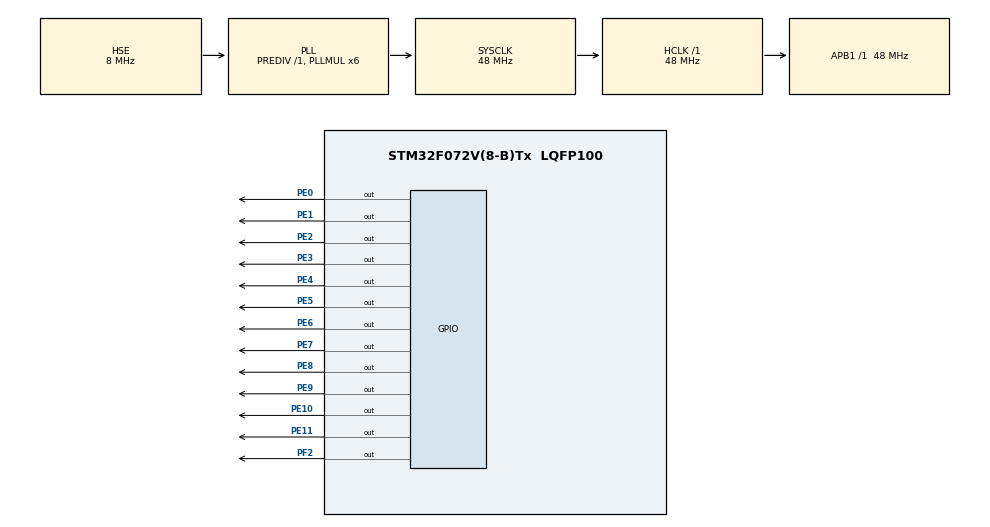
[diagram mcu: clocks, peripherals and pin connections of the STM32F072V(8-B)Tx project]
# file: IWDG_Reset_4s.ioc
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IWDG.Reload=4000
Mcu.Family=STM32F0
Mcu.Name=STM32F072V(8-B)Tx
Mcu.Package=LQFP100
PE0.Signal=GPIO_Output
PE1.Signal=GPIO_Output
PE10.Signal=GPIO_Output
PE11.Signal=GPIO_Output
PE2.Signal=GPIO_Output
PE3.Signal=GPIO_Output
PE4.Signal=GPIO_Output
PE5.Signal=GPIO_Output
PE6.Signal=GPIO_Output
PE7.Signal=GPIO_Output
PE8.Signal=GPIO_Output
PE9.Signal=GPIO_Output
PF0-OSC_IN.Mode=HSE-External-Oscillator
PF0-OSC_IN.Signal=RCC_OSC_IN
PF1-OSC_OUT.Mode=HSE-External-Oscillator
PF1-OSC_OUT.Signal=RCC_OSC_OUT
PF2.Signal=GPIO_Output
ProjectManager.HeapSize=0x200
ProjectManager.StackSize=0x400
ProjectManager.TargetToolchain=MDK-ARM V5
RCC.AHBFreq_Value=48000000
RCC.APB1Freq_Value=48000000
RCC.APB1TimFreq_Value=48000000
RCC.HCLKFreq_Value=48000000
RCC.HSIState=RCC_HSI_ON
RCC.PLLMUL=RCC_PLL_MUL6
RCC.PLLSourceVirtual=RCC_PLLSOURCE_HSE
RCC.SYSCLKFreq_VALUE=48000000
RCC.SYSCLKSource=RCC_SYSCLKSOURCE_PLLCLK
VP_IWDG_VS_IWDG.Mode=IWDG_Activate
board=IWDG_Reset_4s

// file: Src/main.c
/**
  ******************************************************************************
  * File Name          : main.c
  * Description        : Main program body

	* IWDG复位测试：4分频、计数周期100us、重装值4000、4秒钟后停止喂狗微控制器复位
  ******************************************************************************
  *
  * COPYRIGHT(c) 2017 STMicroelectronics
  *
  * Redistribution and use in source and binary forms, with or without modification,
  * are permitted provided that the following conditions are met:
  *   1. Redistributions of source code must retain the above copyright notice,
  *      this list of conditions and the following disclaimer.
  *   2. Redistributions in binary form must reproduce the above copyright notice,
  *      this list of conditions and the following disclaimer in the documentation
  *      and/or other materials provided with the distribution.
  *   3. Neither the name of STMicroelectronics nor the names of its contributors
  *      may be used to endorse or promote products derived from this software
  *      without specific prior written permission.
  *
  * THIS SOFTWARE IS PROVIDED BY THE COPYRIGHT HOLDERS AND CONTRIBUTORS "AS IS"
  * AND ANY EXPRESS OR IMPLIED WARRANTIES, INCLUDING, BUT NOT LIMITED TO, THE
  * IMPLIED WARRANTIES OF MERCHANTABILITY AND FITNESS FOR A PARTICULAR PURPOSE ARE
  * DISCLAIMED. IN NO EVENT SHALL THE COPYRIGHT HOLDER OR CONTRIBUTORS BE LIABLE
  * FOR ANY DIRECT, INDIRECT, INCIDENTAL, SPECIAL, EXEMPLARY, OR CONSEQUENTIAL
  * DAMAGES (INCLUDING, BUT NOT LIMITED TO, PROCUREMENT OF SUBSTITUTE GOODS OR
  * SERVICES; LOSS OF USE, DATA, OR PROFITS; OR BUSINESS INTERRUPTION) HOWEVER
  * CAUSED AND ON ANY THEORY OF LIABILITY, WHETHER IN CONTRACT, STRICT LIABILITY,
  * OR TORT (INCLUDING NEGLIGENCE OR OTHERWISE) ARISING IN ANY WAY OUT OF THE USE
  * OF THIS SOFTWARE, EVEN IF ADVISED OF THE POSSIBILITY OF SUCH DAMAGE.
  *
  ******************************************************************************
  */
#include "stm32f0xx_hal.h"

IWDG_HandleTypeDef hiwdg;

/* USER CODE BEGIN PV */
/* Private variables ---------------------------------------------------------*/

/* USER CODE END PV */

void SystemClock_Config(void);
void Error_Handler(void);
static void MX_GPIO_Init(void);
static void MX_IWDG_Init(void);

/* USER CODE BEGIN PFP */
/* Private function prototypes -----------------------------------------------*/
void SEG_Display(uint32_t num);     /*  数码管显示函数  */

/* USER CODE END PFP */

/* USER CODE BEGIN 0 */
const uint8_t table0[]= {0x3f,0x06,0x5b,0x4f,0x66,0x6d,0x7d,0x07,0x7f,0x6f};  /* 共阴（无点）*/
const uint8_t table1[]= {0xbf,0x86,0xdb,0xcf,0xe6,0xed,0xfd,0x87,0xff,0xef};  /* 共阴（有点）*/

uint32_t  display;   /* 定义显示变量 */
uint32_t  status;    /* 定义状态变量 */
uint8_t   ms16;      /* 定义16毫秒变量 */

/* USER CODE END 0 */

int main(void)
{

  /* MCU Configuration----------------------------------------------------------*/

  /* Reset of all peripherals, Initializes the Flash interface and the Systick. */
  HAL_Init();

  /* Configure the system clock */
  SystemClock_Config();

  /* Initialize all configured peripherals */
  MX_GPIO_Init();
  MX_IWDG_Init();

  /* USER CODE BEGIN 2 */

	/* 启动IWDG计数器 */
	status = HAL_IWDG_Start (&hiwdg);

  /* USER CODE END 2 */

  /* Infinite loop */
  /* USER CODE BEGIN WHILE */
  while (1)
  {
		/*  数码管显示，刷新周期为16毫秒  */
		SEG_Display(display);
		/*  每16ms自加1  */
		display++;
		/*  启动后4秒钟内每隔0.4秒喂狗一次，4秒钟后不再喂狗 */
		if(display<=250)
		{
			/* 16毫秒变量自加1 */
			ms16++;
			/* 在0.4秒钟之内 */
			if(ms16>=24)
			{
				/* 复位16毫秒变量 */
				ms16=0;
				/* 复位IWDG计数器 */
				status = HAL_IWDG_Refresh (&hiwdg);
			}
		}

  /* USER CODE END WHILE */

  }

}

/** System Clock Configuration
*/
void SystemClock_Config(void)
{

  RCC_OscInitTypeDef RCC_OscInitStruct;
  RCC_ClkInitTypeDef RCC_ClkInitStruct;

  RCC_OscInitStruct.OscillatorType = RCC_OSCILLATORTYPE_LSI|RCC_OSCILLATORTYPE_HSE;
  RCC_OscInitStruct.HSEState = RCC_HSE_ON;
  RCC_OscInitStruct.LSIState = RCC_LSI_ON;
  RCC_OscInitStruct.PLL.PLLState = RCC_PLL_ON;
  RCC_OscInitStruct.PLL.PLLSource = RCC_PLLSOURCE_HSE;
  RCC_OscInitStruct.PLL.PLLMUL = RCC_PLL_MUL6;
  RCC_OscInitStruct.PLL.PREDIV = RCC_PREDIV_DIV1;
  if (HAL_RCC_OscConfig(&RCC_OscInitStruct) != HAL_OK)
  {
    Error_Handler();
  }

  RCC_ClkInitStruct.ClockType = RCC_CLOCKTYPE_HCLK|RCC_CLOCKTYPE_SYSCLK
                              |RCC_CLOCKTYPE_PCLK1;
  RCC_ClkInitStruct.SYSCLKSource = RCC_SYSCLKSOURCE_PLLCLK;
  RCC_ClkInitStruct.AHBCLKDivider = RCC_SYSCLK_DIV1;
  RCC_ClkInitStruct.APB1CLKDivider = RCC_HCLK_DIV1;
  if (HAL_RCC_ClockConfig(&RCC_ClkInitStruct, FLASH_LATENCY_1) != HAL_OK)
  {
    Error_Handler();
  }

  HAL_SYSTICK_Config(HAL_RCC_GetHCLKFreq()/1000);

  HAL_SYSTICK_CLKSourceConfig(SYSTICK_CLKSOURCE_HCLK);

  /* SysTick_IRQn interrupt configuration */
  HAL_NVIC_SetPriority(SysTick_IRQn, 0, 0);
}

/* IWDG init function */
static void MX_IWDG_Init(void)
{

  hiwdg.Instance = IWDG;
  hiwdg.Init.Prescaler = IWDG_PRESCALER_4;
  hiwdg.Init.Window = 4095;
  hiwdg.Init.Reload = 4000;
  if (HAL_IWDG_Init(&hiwdg) != HAL_OK)
  {
    Error_Handler();
  }

}

/** Configure pins as
        * Analog
        * Input
        * Output
        * EVENT_OUT
        * EXTI
*/
static void MX_GPIO_Init(void)
{

  GPIO_InitTypeDef GPIO_InitStruct;

  /* GPIO Ports Clock Enable */
  __HAL_RCC_GPIOE_CLK_ENABLE();
  __HAL_RCC_GPIOF_CLK_ENABLE();

  /*Configure GPIO pin Output Level */
  HAL_GPIO_WritePin(GPIOE, GPIO_PIN_2|GPIO_PIN_3|GPIO_PIN_4|GPIO_PIN_5
                          |GPIO_PIN_6|GPIO_PIN_7|GPIO_PIN_8|GPIO_PIN_9
                          |GPIO_PIN_10|GPIO_PIN_11|GPIO_PIN_0|GPIO_PIN_1, GPIO_PIN_RESET);

  /*Configure GPIO pin Output Level */
  HAL_GPIO_WritePin(GPIOF, GPIO_PIN_2, GPIO_PIN_RESET);

  /*Configure GPIO pins : PE2 PE3 PE4 PE5
                           PE6 PE7 PE8 PE9
                           PE10 PE11 PE0 PE1 */
  GPIO_InitStruct.Pin = GPIO_PIN_2|GPIO_PIN_3|GPIO_PIN_4|GPIO_PIN_5
                          |GPIO_PIN_6|GPIO_PIN_7|GPIO_PIN_8|GPIO_PIN_9
                          |GPIO_PIN_10|GPIO_PIN_11|GPIO_PIN_0|GPIO_PIN_1;
  GPIO_InitStruct.Mode = GPIO_MODE_OUTPUT_PP;
  GPIO_InitStruct.Pull = GPIO_NOPULL;
  GPIO_InitStruct.Speed = GPIO_SPEED_FREQ_LOW;
  HAL_GPIO_Init(GPIOE, &GPIO_InitStruct);

  /*Configure GPIO pin : PF2 */
  GPIO_InitStruct.Pin = GPIO_PIN_2;
  GPIO_InitStruct.Mode = GPIO_MODE_OUTPUT_PP;
  GPIO_InitStruct.Pull = GPIO_NOPULL;
  GPIO_InitStruct.Speed = GPIO_SPEED_FREQ_LOW;
  HAL_GPIO_Init(GPIOF, &GPIO_InitStruct);

}

/* USER CODE BEGIN 4 */

/*  数码管显示函数  */
void SEG_Display(uint32_t num)
{
	/* 取出四位数显示值 */
  uint8_t GeWei,ShiWei,BaiWei,QianWei;
	GeWei   = (uint8_t)(num%10);
	ShiWei  = (uint8_t)(num%100/10);
	BaiWei  = (uint8_t)(num%1000/100);
	QianWei = (uint8_t)(num/1000);

	/* 使能数码管位驱动  */
	HAL_GPIO_WritePin(GPIOF,GPIO_PIN_2,GPIO_PIN_RESET);

	/* 显示个位 */
	GPIOE->ODR |= (uint16_t)(table0[GeWei]);
	/* 使能个位 */
	HAL_GPIO_WritePin(GPIOE,GPIO_PIN_9|GPIO_PIN_10|GPIO_PIN_11,GPIO_PIN_SET);
	HAL_GPIO_WritePin(GPIOE,GPIO_PIN_8,GPIO_PIN_RESET);
	HAL_Delay(3);
	/* 消隐 */
  GPIOE->ODR &= 0xFF00;
	GPIOE->ODR |= 0x0F00;
	HAL_Delay(1);

	/* 显示十位 */
	GPIOE->ODR |= (uint16_t)(table0[ShiWei]);
	/* 使能十位 */
	HAL_GPIO_WritePin(GPIOE,GPIO_PIN_8|GPIO_PIN_10|GPIO_PIN_11,GPIO_PIN_SET);
	HAL_GPIO_WritePin(GPIOE,GPIO_PIN_9,GPIO_PIN_RESET);
	HAL_Delay(3);
	/* 消隐 */
  GPIOE->ODR &= 0xFF00;
	GPIOE->ODR |= 0x0F00;
	HAL_Delay(1);

	/* 显示百位 */
	GPIOE->ODR |= (uint16_t)(table0[BaiWei]);
	/* 使能百位 */
	HAL_GPIO_WritePin(GPIOE,GPIO_PIN_8|GPIO_PIN_9|GPIO_PIN_11,GPIO_PIN_SET);
	HAL_GPIO_WritePin(GPIOE,GPIO_PIN_10,GPIO_PIN_RESET);
	HAL_Delay(3);
	/* 消隐 */
  GPIOE->ODR &= 0xFF00;
	GPIOE->ODR |= 0x0F00;
	HAL_Delay(1);

	/* 显示千位 */
	GPIOE->ODR |= (uint16_t)(table0[QianWei]);
	/* 使能千位 */
	HAL_GPIO_WritePin(GPIOE,GPIO_PIN_8|GPIO_PIN_9|GPIO_PIN_10,GPIO_PIN_SET);
	HAL_GPIO_WritePin(GPIOE,GPIO_PIN_11,GPIO_PIN_RESET);
	HAL_Delay(3);
	/* 消隐 */
  GPIOE->ODR &= 0xFF00;
	GPIOE->ODR |= 0x0F00;
	HAL_Delay(1);
}

/* USER CODE END 4 */

void Error_Handler(void)
{
  while(1)
  {
  }
}

/************************ (C) COPYRIGHT STMicroelectronics *****END OF FILE****/
